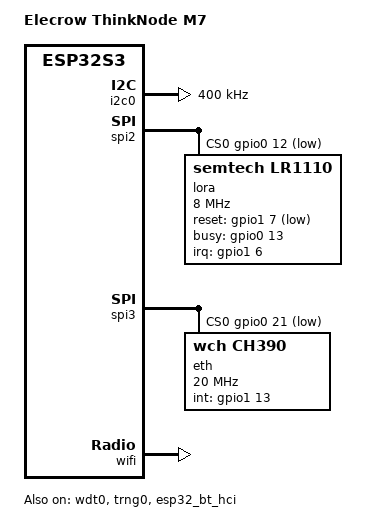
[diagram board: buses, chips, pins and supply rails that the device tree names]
/*
 * SPDX-License-Identifier: MIT
 * Elecrow ThinkNode M7 — ESP32-S3, 8MB flash, 8MB PSRAM
 *
 * Hardware:
 *   MCU:      ESP32-S3 bare die with external flash (no WROOM module)
 *   Flash:    8 MB, QIO
 *   PSRAM:    8 MB, OPI octal
 *   Radio:    Semtech LR1110 on SPI2 (TCXO 1.8V, DIO5/DIO6 RF switch)
 *   Ethernet: WCH CH390 on SPI3, optional PoE (declared in board.overlay)
 *   Console:  CH343 USB-UART bridge into uart0
 *
 * Not fitted: display, GNSS, buzzer, battery, SD card, reset button.
 *
 * The LR1110 node lives HERE (not board.overlay) so the standalone
 * tools/lr1110_updater build — which replaces board.overlay with its own
 * minimal overlay — still sees the radio.
 */

/dts-v1/;

#include <espressif/esp32s3/esp32s3.dtsi>
#include "thinknode_m7-pinctrl.dtsi"
#include <espressif/partitions_0x0_default_8M.dtsi>
/* In the base DTS (not only board.overlay) so the sysbuild MCUboot image, which
 * sees this file but not board.overlay, also gets a zephyr,console. */
#include "../../common/esp32s3_console_uart0.dtsi"

/ {
	model = "Elecrow ThinkNode M7";
	compatible = "elecrow,thinknode-m7";

	/* No zephyr,console here: the USB-C data lines ride a CH343 USB-UART
	 * bridge into UART0, and the native USB pads are not bonded to the
	 * connector. esp32s3_console_uart0.dtsi supplies the chosen node. */
	chosen {
		zephyr,sram = &sram1;
		zephyr,flash = &flash0;
		zephyr,code-partition = &slot0_partition;
		zephyr,bt-hci = &esp32_bt_hci;
	};

	aliases {
		uart-0 = &uart0;
		i2c-0 = &i2c0;
		watchdog0 = &wdt0;
		lora0 = &lora;
	};
};

&i2c0 {
	status = "okay";
	clock-frequency = <I2C_BITRATE_FAST>;
	pinctrl-0 = <&i2c0_default>;
	pinctrl-names = "default";
};

&spi2 {
	status = "okay";
	#address-cells = <1>;
	#size-cells = <0>;
	pinctrl-0 = <&spim2_default>;
	pinctrl-names = "default";

	cs-gpios = <&gpio0 12 GPIO_ACTIVE_LOW>;

	lora: lora@0 {
		compatible = "semtech,lr1110";
		reg = <0>;
		spi-max-frequency = <8000000>;

		reset-gpios = <&gpio1 7 GPIO_ACTIVE_LOW>;                     /* GPIO39 */
		busy-gpios  = <&gpio0 13 GPIO_ACTIVE_HIGH>;                   /* GPIO13 */
		irq-gpios   = <&gpio1 6 (GPIO_PULL_DOWN | GPIO_ACTIVE_HIGH)>; /* GPIO38 */

		/* TCXO 1.8V via DIO3 (Arduino LR11X0_DIO3_TCXO_VOLTAGE=1.8) */
		tcxo-voltage = <1800>;
		tcxo-power-startup-delay-ms = <5>;

		rx-boosted;

		/* RF switch truth table from the Arduino rfswitch_table[]:
		 * bit0 = DIO5, bit1 = DIO6.
		 *   STBY: DIO5=L DIO6=L   RX:    DIO5=H DIO6=L
		 *   TX:   DIO5=H DIO6=H   TX_HP: DIO5=L DIO6=H
		 * (MODE_TX = low-power PA path, MODE_TX_HP = high-power PA path) */
		rfsw-enable = <0x03>;
		rfsw-standby = <0x00>;
		rfsw-rx = <0x01>;
		rfsw-tx = <0x03>;
		rfsw-tx-hp = <0x02>;
		rfsw-gnss = <0x00>;
	};
};

/*
 * SPI3 — WCH CH390 Ethernet. 20 MHz: the part is rated 50 MHz typical and
 * 72 MHz maximum at 3.3V (CH390DS1 v1.8), so the ceiling here is not the chip
 * but the GPIO matrix, since these pads have no SPI3 IOMUX route. 20 MHz is
 * proven on this board and is far more than the companion protocol needs.
 */
&spi3 {
	status = "okay";
	#address-cells = <1>;
	#size-cells = <0>;
	pinctrl-0 = <&spim3_default>;
	pinctrl-names = "default";

	cs-gpios = <&gpio0 21 GPIO_ACTIVE_LOW>;

	eth: ethernet@0 {
		compatible = "wch,ch390";
		reg = <0>;
		spi-max-frequency = <20000000>;

		/* GPIO45 is the VDD_SPI strapping pin and must read LOW at boot, or
		 * the chip picks a 1.8V flash supply and the 3.3V flash browns out.
		 * The driver programs the controller's INTCR polarity from these
		 * flags, and active-high is INTCR's reset value, so the line idles
		 * low both before and after the driver runs. Active-low would boot
		 * once and then hang: the CH390 has no reset input, so it would keep
		 * driving the pin high across a CPU-only reset. */
		int-gpios = <&gpio1 13 GPIO_ACTIVE_HIGH>;	/* GPIO45 */
	};
};

&gpio0 { status = "okay"; };
&gpio1 { status = "okay"; };
&wdt0 { status = "okay"; };
&trng0 { status = "okay"; };

&esp32_bt_hci {
	status = "okay";
};

/* Enabled in DT as on every other ESP32-S3 board; the driver is only built
 * when CONFIG_WIFI is set, which this board's manifest does not ask for. */
&wifi {
	status = "okay";
};

/* Module flash/PSRAM, declared by the board since Zephyr 4.5 removed the
 * per-module dtsi. */
&flash0 {
	reg = <0x0 DT_SIZE_M(8)>;
	ranges = <0x0 0x0 DT_SIZE_M(8)>;
};

&psram0 {
	size = <DT_SIZE_M(8)>;
};
